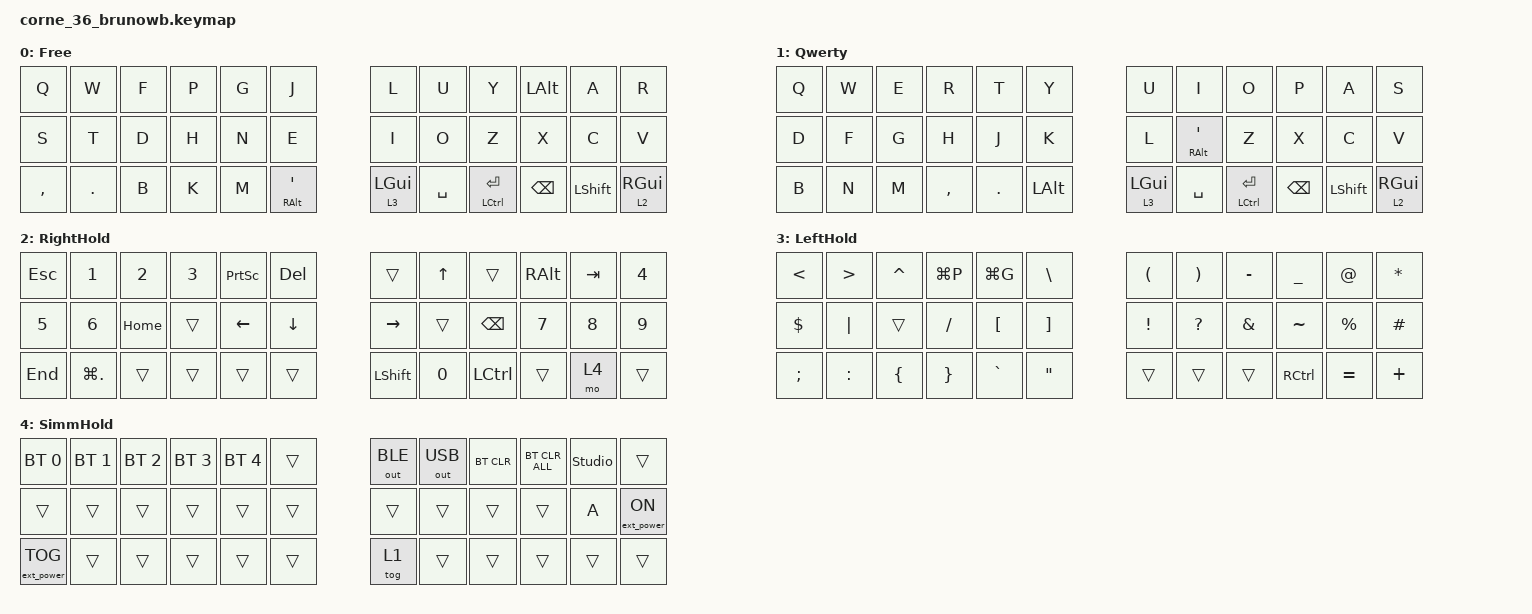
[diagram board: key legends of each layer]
#include <behaviors.dtsi>
#include <dt-bindings/zmk/bt.h>
#include <dt-bindings/zmk/ext_power.h>
#include <dt-bindings/zmk/keys.h>
#include <dt-bindings/zmk/outputs.h>

/ {
    chosen { zmk,matrix-transform = &five_column_transform; };

    keymap {
        compatible = "zmk,keymap";

        Free {
            bindings = <
&kp Q      &kp W    &kp F  &kp P  &kp G  &kp J                &kp L           &kp U      &kp Y                    &kp LALT  &kp A           &kp R
&kp S      &kp T    &kp D  &kp H  &kp N  &kp E                &kp I           &kp O      &kp Z                    &kp X     &kp C           &kp V
&kp COMMA  &kp DOT  &kp B  &kp K  &kp M  &mt RIGHT_ALT SQT    &lt 3 LEFT_GUI  &kp SPACE  &mt LEFT_CONTROL RETURN  &kp BSPC  &kp LEFT_SHIFT  &lt 2 RIGHT_GUI
            >;
        };

        Qwerty {
            bindings = <
&kp Q  &kp W  &kp E  &kp R  &kp T  &kp Y  &kp U  &kp I  &kp O  &kp P  &kp A  &kp S
&kp D  &kp F  &kp G  &kp H  &kp J  &kp K  &kp L  &mt RIGHT_ALT SQT  &kp Z  &kp X  &kp C  &kp V
&kp B  &kp N  &kp M  &kp COMMA  &kp DOT  &kp LALT  &lt 3 LEFT_GUI  &kp SPACE  &mt LEFT_CONTROL RETURN  &kp BSPC  &kp LEFT_SHIFT  &lt 2 RIGHT_GUI
            >;
        };

        RightHold {
            bindings = <
&kp ESC  &kp N1          &kp N2    &kp N3  &kp PRINTSCREEN  &kp DEL     &trans          &kp UP  &trans            &kp RIGHT_ALT  &kp TAB  &kp N4
&kp N5   &kp N6          &kp HOME  &trans  &kp LEFT         &kp DOWN    &kp RIGHT       &trans  &kp BSPC          &kp N7         &kp N8   &kp N9
&kp END  &kp LG(PERIOD)  &trans    &trans  &trans           &trans      &kp LEFT_SHIFT  &kp N0  &kp LEFT_CONTROL  &trans         &mo 4    &trans
            >;
        };

        LeftHold {
            bindings = <
&kp LESS_THAN  &kp GREATER_THAN  &kp CARET       &kp LG(P)        &kp LG(G)  &kp BACKSLASH        &kp LEFT_PARENTHESIS  &kp RIGHT_PARENTHESIS  &kp MINUS      &kp UNDERSCORE     &kp AT       &kp ASTRK
&kp DOLLAR     &kp PIPE          &trans          &kp SLASH        &kp LBKT   &kp RBKT             &kp EXCL              &kp QUESTION           &kp AMPERSAND  &kp TILDE          &kp PERCENT  &kp HASH
&kp SEMI       &kp COLON         &kp LEFT_BRACE  &kp RIGHT_BRACE  &kp GRAVE  &kp DOUBLE_QUOTES    &trans                &trans                 &trans         &kp RIGHT_CONTROL  &kp EQUAL    &kp PLUS
            >;
        };

        SimmHold {
            bindings = <
&bt BT_SEL 0       &bt BT_SEL 1  &bt BT_SEL 2  &bt BT_SEL 3  &bt BT_SEL 4  &trans    &out OUT_BLE  &out OUT_USB  &bt BT_CLR  &bt BT_CLR_ALL  &studio_unlock  &trans
&trans             &trans        &trans        &trans        &trans        &trans    &trans        &trans        &trans      &trans          &kp A           &ext_power EP_ON
&ext_power EP_TOG  &trans        &trans        &trans        &trans        &trans    &tog 1        &trans        &trans      &trans          &trans          &trans
            >;
        };
    };
};
